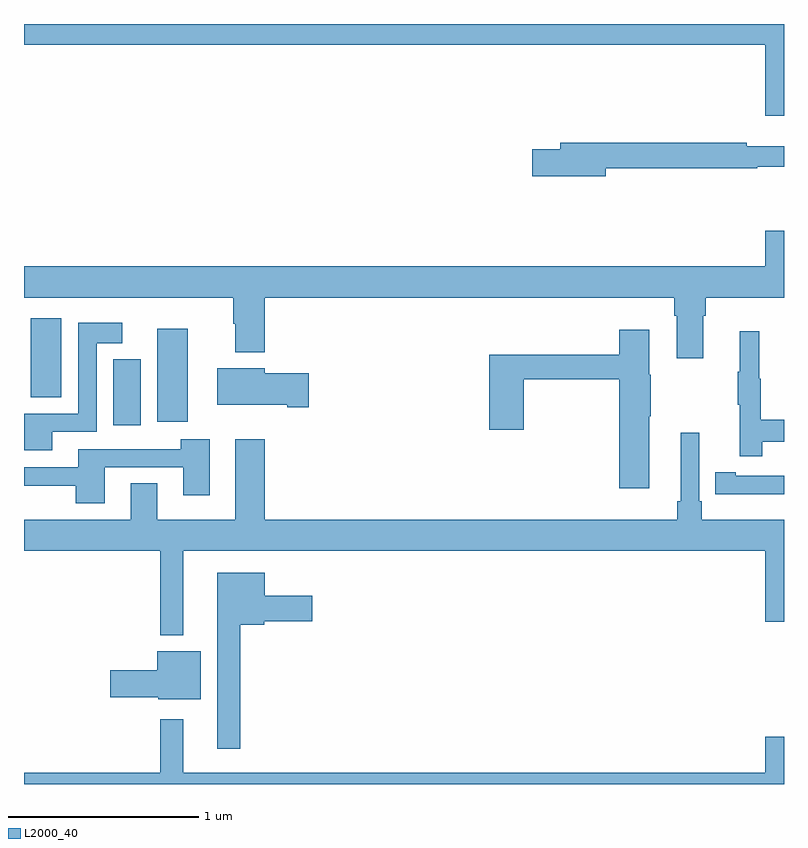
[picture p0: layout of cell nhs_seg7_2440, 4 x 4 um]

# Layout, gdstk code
import gdstk
lib = gdstk.Library(unit=1e-6, precision=1e-09)
def R(c, l, rs):  # rectangles x0, y0, x1, y1
    for r in rs: c.add(gdstk.rectangle(r[:2], r[2:], *l))
def P(c, l, *ps):  # polygons
    for p in ps: c.add(gdstk.Polygon(p, *l))
L2000_40 = (2000, 40)

nhs_seg7_2440 = lib.new_cell('nhs_seg7_2440')
R(nhs_seg7_2440, L2000_40, [(269.471,1055.889,269.614,1056.235), (269.702,1055.907,269.863,1056.397), (269.036,1056.035,269.197,1056.451)])
P(nhs_seg7_2440, L2000_40, [(273,1058),(269,1058),(269,1057.892),(272.9,1057.892),(272.9,1057.518),(273,1057.518)],
  [(272.062,1057.24),(272.858,1057.24),(272.858,1057.248),(273,1057.248),(273,1057.357),(272.804,1057.357),(272.804,1057.376),(271.823,1057.376),(271.823,1057.34),(271.674,1057.34),(271.674,1057.198),(272.062,1057.198)],
  [(272.575,1056.464),(272.588,1056.464),(272.588,1056.56),(273,1056.56),(273,1056.913),(272.9,1056.913),(272.9,1056.724),(269,1056.724),(269,1056.56),(270.101,1056.56),(270.101,1056.422),(270.113,1056.422),(270.113,1056.272),(270.266,1056.272),(270.266,1056.56),(272.423,1056.56),(272.423,1056.464),(272.435,1056.464),(272.435,1056.24),(272.575,1056.24)],
  [(269.149,1055.853),(269.382,1055.853),(269.382,1056.32),(269.518,1056.32),(269.518,1056.427),(269.286,1056.427),(269.286,1055.949),(269.04,1055.949),(269.04,1055.95),(269,1055.95),(269,1055.756),(269.149,1055.756)],
  [(272.29,1055.935),(272.298,1055.935),(272.298,1056.153),(272.29,1056.153),(272.29,1056.391),(272.132,1056.391),(272.132,1056.259),(271.448,1056.259),(271.448,1055.865),(271.631,1055.865),(271.631,1056.13),(272.132,1056.13),(272.132,1055.556),(272.29,1055.556)],
  [(272.885,1055.802),(273,1055.802),(273,1055.918),(272.878,1055.918),(272.878,1056.132),(272.87,1056.132),(272.87,1056.382),(272.768,1056.382),(272.768,1056.169),(272.757,1056.169),(272.757,1055.995),(272.768,1055.995),(272.768,1055.724),(272.885,1055.724)],
  [(270.499,1056.162),(270.268,1056.162),(270.268,1056.187),(270.017,1056.187),(270.017,1055.996),(270.386,1055.996),(270.386,1055.984),(270.499,1055.984)],
  [(269.839,1055.228),(272.9,1055.228),(272.9,1054.854),(273,1054.854),(273,1055.392),(272.567,1055.392),(272.567,1055.488),(272.553,1055.488),(272.553,1055.848),(272.456,1055.848),(272.456,1055.488),(272.437,1055.488),(272.437,1055.392),(270.266,1055.392),(270.266,1055.815),(270.113,1055.815),(270.113,1055.392),(269.701,1055.392),(269.701,1055.582),(269.561,1055.582),(269.561,1055.392),(269,1055.392),(269,1055.228),(269.718,1055.228),(269.718,1054.784),(269.839,1054.784)],
  [(269.425,1055.667),(269.837,1055.667),(269.837,1055.52),(269.977,1055.52),(269.977,1055.815),(269.825,1055.815),(269.825,1055.763),(269.285,1055.763),(269.285,1055.667),(269,1055.667),(269,1055.57),(269.273,1055.57),(269.273,1055.478),(269.425,1055.478)],
  [(273,1055.622),(272.746,1055.622),(272.746,1055.642),(272.638,1055.642),(272.638,1055.526),(272.746,1055.526),(272.746,1055.525),(273,1055.525)],
  [(270.139,1054.838),(270.264,1054.838),(270.264,1054.856),(270.517,1054.856),(270.517,1054.99),(270.268,1054.99),(270.268,1055.113),(270.017,1055.113),(270.017,1054.185),(270.139,1054.185)],
  [(269.929,1054.699),(269.702,1054.699),(269.702,1054.598),(269.454,1054.598),(269.454,1054.456),(269.706,1054.456),(269.706,1054.445),(269.929,1054.445)],
  [(273,1054.249),(272.9,1054.249),(272.9,1054.06),(269.839,1054.06),(269.839,1054.342),(269.718,1054.342),(269.718,1054.06),(269,1054.06),(269,1054),(273,1054)])

lib.write_gds('nhs_seg7_2440.gds')
